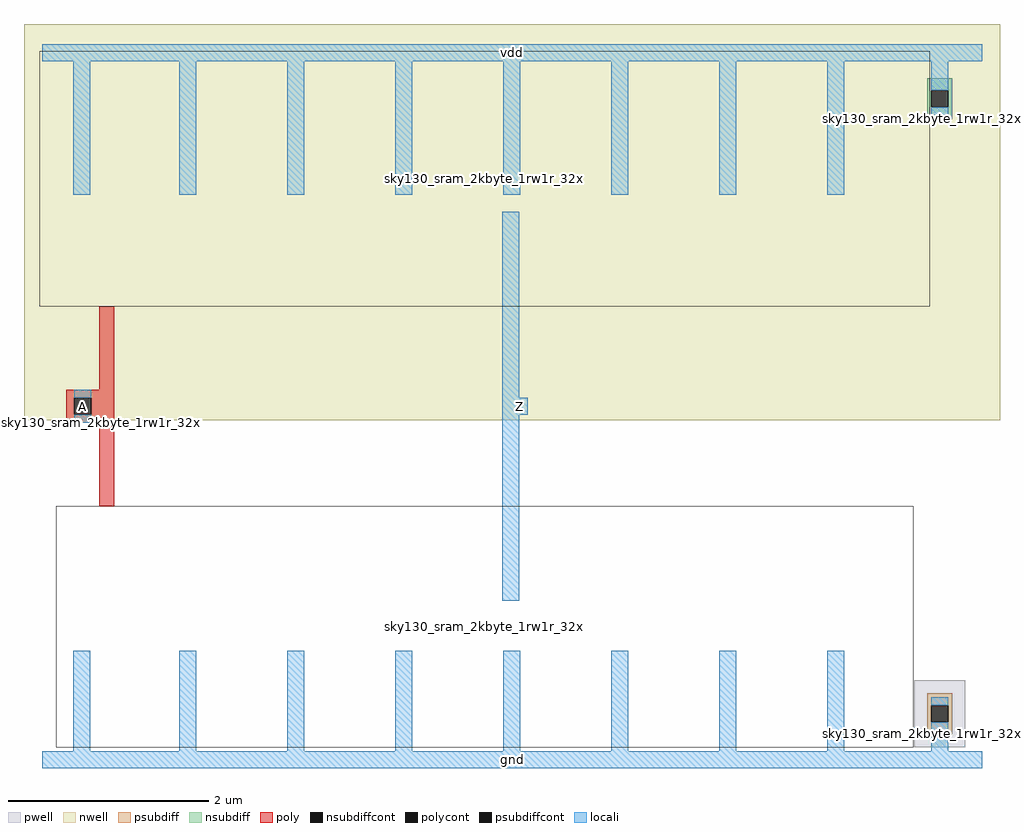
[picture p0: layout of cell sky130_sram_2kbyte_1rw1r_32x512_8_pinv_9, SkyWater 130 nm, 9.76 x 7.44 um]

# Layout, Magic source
magic
tech sky130A
magscale 1 2
<< nwell >>
rect -36 679 1916 1471
<< pwell >>
rect 1744 25 1846 159
<< psubdiff >>
rect 1770 109 1820 133
rect 1770 75 1778 109
rect 1812 75 1820 109
rect 1770 51 1820 75
<< nsubdiff >>
rect 1770 1339 1820 1363
rect 1770 1305 1778 1339
rect 1812 1305 1820 1339
rect 1770 1281 1820 1305
<< psubdiffcont >>
rect 1778 75 1812 109
<< nsubdiffcont >>
rect 1778 1305 1812 1339
<< poly >>
rect 114 740 144 907
rect 48 724 144 740
rect 48 690 64 724
rect 98 690 144 724
rect 48 674 144 690
rect 114 507 144 674
<< polycont >>
rect 64 690 98 724
<< locali >>
rect 0 1397 1880 1431
rect 62 1130 96 1397
rect 274 1130 308 1397
rect 490 1130 524 1397
rect 706 1130 740 1397
rect 922 1130 956 1397
rect 1138 1130 1172 1397
rect 1354 1130 1388 1397
rect 1570 1130 1604 1397
rect 1778 1339 1812 1397
rect 1778 1289 1812 1305
rect 64 724 98 740
rect 64 674 98 690
rect 920 724 954 1096
rect 920 690 971 724
rect 920 318 954 690
rect 62 17 96 218
rect 274 17 308 218
rect 490 17 524 218
rect 706 17 740 218
rect 922 17 956 218
rect 1138 17 1172 218
rect 1354 17 1388 218
rect 1570 17 1604 218
rect 1778 109 1812 125
rect 1778 17 1812 75
rect 0 -17 1880 17
use sky130_sram_2kbyte_1rw1r_32x512_8_contact_16  sky130_sram_2kbyte_1rw1r_32x512_8_contact_16_0
transform 1 0 48 0 1 674
box 0 0 1 1
use sky130_sram_2kbyte_1rw1r_32x512_8_contact_29  sky130_sram_2kbyte_1rw1r_32x512_8_contact_29_0
transform 1 0 1770 0 1 51
box 0 0 1 1
use sky130_sram_2kbyte_1rw1r_32x512_8_contact_28  sky130_sram_2kbyte_1rw1r_32x512_8_contact_28_0
transform 1 0 1770 0 1 1281
box 0 0 1 1
use sky130_sram_2kbyte_1rw1r_32x512_8_nmos_m15_w2_000_sli_dli_da_p  sky130_sram_2kbyte_1rw1r_32x512_8_nmos_m15_w2_000_sli_dli_da_p_0
transform 1 0 54 0 1 51
box -26 -26 1688 456
use sky130_sram_2kbyte_1rw1r_32x512_8_pmos_m15_w2_000_sli_dli_da_p  sky130_sram_2kbyte_1rw1r_32x512_8_pmos_m15_w2_000_sli_dli_da_p_0
transform 1 0 54 0 1 963
box -59 -56 1721 454
<< labels >>
rlabel locali s 81 707 81 707 4 A
port 1 nsew
rlabel locali s 954 707 954 707 4 Z
port 2 nsew
rlabel locali s 940 0 940 0 4 gnd
port 3 nsew
rlabel locali s 940 1414 940 1414 4 vdd
port 4 nsew
<< properties >>
string FIXED_BBOX 0 0 1880 1414
string GDS_FILE $PDKPATH/libs.ref/sky130_sram_macros/gds/sky130_sram_2kbyte_1rw1r_32x512_8.gds
string GDS_END 388138
string GDS_START 385372
<< end >>
